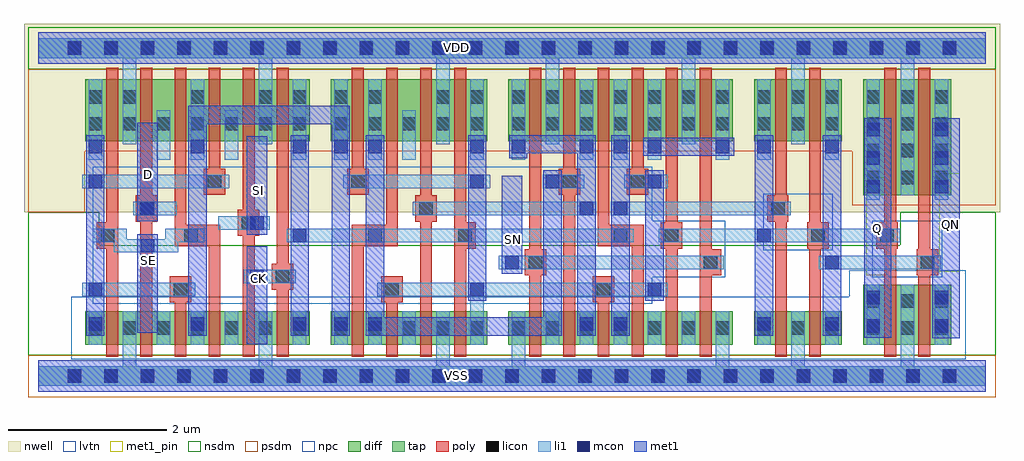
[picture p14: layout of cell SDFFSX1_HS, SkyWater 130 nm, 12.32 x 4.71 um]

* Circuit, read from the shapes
.subckt SDFFSX1_HS CK D Q QN SE SI SN VDD VSS
XM1 VSS SE n1 VSS sky130_fd_pr__nfet_01v8_lvt w=0.425 l=0.15
XM2 n2 D VSS VSS sky130_fd_pr__nfet_01v8_lvt w=0.425 l=0.15
XM3 n3 n1 n2 VSS sky130_fd_pr__nfet_01v8_lvt w=0.425 l=0.15
XM4 n4 SE n3 VSS sky130_fd_pr__nfet_01v8_lvt w=0.425 l=0.15
XM5 VSS SI n4 VSS sky130_fd_pr__nfet_01v8_lvt w=0.425 l=0.15
XM6 n5 CK VSS VSS sky130_fd_pr__nfet_01v8_lvt w=0.425 l=0.15
XM7 n6 n5 n3 VSS sky130_fd_pr__nfet_01v8_lvt w=0.425 l=0.15
XM8 n7 n8 n6 VSS sky130_fd_pr__nfet_01v8_lvt w=0.425 l=0.15
XM9 VSS n9 n7 VSS sky130_fd_pr__nfet_01v8_lvt w=0.425 l=0.15
XM10 n8 n5 VSS VSS sky130_fd_pr__nfet_01v8_lvt w=0.425 l=0.15
XM11 n10 SN VSS VSS sky130_fd_pr__nfet_01v8_lvt w=0.425 l=0.15
XM12 n9 n6 n10 VSS sky130_fd_pr__nfet_01v8_lvt w=0.425 l=0.15
XM13 n11 n8 n9 VSS sky130_fd_pr__nfet_01v8_lvt w=0.425 l=0.15
XM14 n12 n5 n11 VSS sky130_fd_pr__nfet_01v8_lvt w=0.425 l=0.15
XM15 n13 n14 n12 VSS sky130_fd_pr__nfet_01v8_lvt w=0.425 l=0.15
XM16 VSS SN n13 VSS sky130_fd_pr__nfet_01v8_lvt w=0.425 l=0.15
XM17 VSS n11 n14 VSS sky130_fd_pr__nfet_01v8_lvt w=0.425 l=0.15
XM18 n15 n14 VSS VSS sky130_fd_pr__nfet_01v8_lvt w=0.425 l=0.15
XM19 VSS n14 Q VSS sky130_fd_pr__nfet_01v8_lvt w=0.76 l=0.15
XM20 QN n15 VSS VSS sky130_fd_pr__nfet_01v8_lvt w=0.76 l=0.15
XM21 VDD SE n1 VDD sky130_fd_pr__pfet_01v8 w=0.78 l=0.15
XM22 n16 D VDD VDD sky130_fd_pr__pfet_01v8 w=0.78 l=0.15
XM23 n3 SE n16 VDD sky130_fd_pr__pfet_01v8 w=0.78 l=0.15
XM24 n17 n1 n3 VDD sky130_fd_pr__pfet_01v8 w=0.78 l=0.15
XM25 VDD SI n17 VDD sky130_fd_pr__pfet_01v8 w=0.78 l=0.15
XM26 n5 CK VDD VDD sky130_fd_pr__pfet_01v8 w=0.78 l=0.15
XM27 n6 n8 n3 VDD sky130_fd_pr__pfet_01v8 w=0.78 l=0.15
XM28 n18 n5 n6 VDD sky130_fd_pr__pfet_01v8 w=0.78 l=0.15
XM29 VDD n9 n18 VDD sky130_fd_pr__pfet_01v8 w=0.78 l=0.15
XM30 n8 n5 VDD VDD sky130_fd_pr__pfet_01v8 w=0.78 l=0.15
XM31 VDD SN n9 VDD sky130_fd_pr__pfet_01v8 w=0.78 l=0.15
XM32 n9 n6 VDD VDD sky130_fd_pr__pfet_01v8 w=0.78 l=0.15
XM33 n11 n5 n9 VDD sky130_fd_pr__pfet_01v8 w=0.78 l=0.15
XM34 n19 n8 n11 VDD sky130_fd_pr__pfet_01v8 w=0.78 l=0.15
XM35 VDD n14 n19 VDD sky130_fd_pr__pfet_01v8 w=0.78 l=0.15
XM36 n19 SN VDD VDD sky130_fd_pr__pfet_01v8 w=0.78 l=0.15
XM37 VDD n11 n14 VDD sky130_fd_pr__pfet_01v8 w=0.78 l=0.15
XM38 n15 n14 VDD VDD sky130_fd_pr__pfet_01v8 w=0.78 l=0.15
XM39 VDD n14 Q VDD sky130_fd_pr__pfet_01v8 w=1.46 l=0.15
XM40 QN n15 VDD VDD sky130_fd_pr__pfet_01v8 w=1.46 l=0.15
.ends

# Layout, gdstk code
from math import pi, radians
import gdstk
lib = gdstk.Library(unit=1e-6, precision=1e-09)
def R(c, l, rs):  # rectangles x0, y0, x1, y1
    for r in rs: c.add(gdstk.rectangle(r[:2], r[2:], *l))
def A(c, l, x, y, w, h, nx, ny, dx, dy):  # array of equal rectangles
    R(c, l, [(x+i*dx, y+j*dy, x+i*dx+w, y+j*dy+h) for i in range(nx) for j in range(ny)])
def P(c, l, *ps):  # polygons
    for p in ps: c.add(gdstk.Polygon(p, *l))
nwell = (64, 20)
diff = (65, 20)
tap = (65, 44)
poly = (66, 20)
licon = (66, 44)
li1 = (67, 20)
mcon = (67, 44)
met1_pin = (68, 16)
met1 = (68, 20)
nsdm = (93, 44)
psdm = (94, 20)
npc = (95, 20)
lvtn = (125, 44)

pyl1con_c_cdns_758729172 = lib.new_cell('PYL1CON_C_CDNS_758729172862')
R(pyl1con_c_cdns_758729172, poly, [(-0.135,-0.165,0.135,0.165)])
R(pyl1con_c_cdns_758729172, licon, [(-0.085,-0.085,0.085,0.085)])
R(pyl1con_c_cdns_758729172, npc, [(-0.185,-0.185,0.185,0.185)])

l1m1_c_cdns_758729172864 = lib.new_cell('L1M1_C_CDNS_758729172864')
R(l1m1_c_cdns_758729172864, li1, [(-0.085,-0.345,0.085,0.345)])
R(l1m1_c_cdns_758729172864, mcon, [(-0.085,-0.265,0.085,-0.095), (-0.085,0.095,0.085,0.265)])
R(l1m1_c_cdns_758729172864, met1, [(-0.115,-0.325,0.115,0.325)])

l1m1_c_cdns_758729172861 = lib.new_cell('L1M1_C_CDNS_758729172861')
R(l1m1_c_cdns_758729172861, li1, [(-0.085,-0.165,0.085,0.165)])
R(l1m1_c_cdns_758729172861, mcon, [(-0.085,-0.085,0.085,0.085)])
R(l1m1_c_cdns_758729172861, met1, [(-0.115,-0.145,0.115,0.145)])

l1m1_c_cdns_758729172860 = lib.new_cell('L1M1_C_CDNS_758729172860')
R(l1m1_c_cdns_758729172860, li1, [(-0.165,-0.085,0.165,0.085)])
R(l1m1_c_cdns_758729172860, mcon, [(-0.085,-0.085,0.085,0.085)])
R(l1m1_c_cdns_758729172860, met1, [(-0.115,-0.145,0.115,0.145)])

l1m1_c_cdns_758729172862 = lib.new_cell('L1M1_C_CDNS_7587291728623')
R(l1m1_c_cdns_758729172862, li1, [(-0.085,-0.165,0.085,0.165)])
R(l1m1_c_cdns_758729172862, mcon, [(-0.085,-0.085,0.085,0.085)])
R(l1m1_c_cdns_758729172862, met1, [(-0.145,-0.085,0.145,0.085)])

licondiff_c_cdns_7587291 = lib.new_cell('LICONDIFF_C_CDNS_7587291728611')
R(licondiff_c_cdns_7587291, diff, [(-0.125,-0.145,0.125,0.145)])
R(licondiff_c_cdns_7587291, licon, [(-0.085,-0.085,0.085,0.085), (-0.085,-0.085,0.085,0.085)])

c_l1m1_c_cdns_758729172861 = lib.new_cell('L1M1_C_CDNS_7587291728613')
R(c_l1m1_c_cdns_758729172861, li1, [(-0.085,-0.525,0.085,0.525)])
A(c_l1m1_c_cdns_758729172861, mcon, -0.085, -0.445, 0.17, 0.17, 1, 3, 0, 0.36)
R(c_l1m1_c_cdns_758729172861, met1, [(-0.115,-0.505,0.115,0.505)])

c_pyl1con_c_cdns_758729172 = lib.new_cell('PYL1CON_C_CDNS_7587291728618')
R(c_pyl1con_c_cdns_758729172, poly, [(-0.135,-0.29,0.135,0.29)])
R(c_pyl1con_c_cdns_758729172, licon, [(-0.085,-0.085,0.085,0.085)])
R(c_pyl1con_c_cdns_758729172, npc, [(-0.185,-0.185,0.185,0.185)])

c_l1m1_c_cdns_758729172862 = lib.new_cell('L1M1_C_CDNS_7587291728621')
R(c_l1m1_c_cdns_758729172862, li1, [(-0.125,-0.085,0.125,0.085)])
R(c_l1m1_c_cdns_758729172862, mcon, [(-0.085,-0.085,0.085,0.085)])
R(c_l1m1_c_cdns_758729172862, met1, [(-0.115,-0.145,0.115,0.145)])

c_pyl1con_c_cdns_758729172_ = lib.new_cell('PYL1CON_C_CDNS_7587291728622')
R(c_pyl1con_c_cdns_758729172_, poly, [(-0.135,-0.37,0.135,0.21)])
R(c_pyl1con_c_cdns_758729172_, licon, [(-0.085,-0.085,0.085,0.085)])
R(c_pyl1con_c_cdns_758729172_, npc, [(-0.185,-0.185,0.185,0.185)])

sdffsx1_hs = lib.new_cell('SDFFSX1_HS')
R(sdffsx1_hs, nwell, [(-0.18,2.07,12.14,4.445)])
R(sdffsx1_hs, diff, [(0.595,0.395,3.425,0.82), (3.695,0.395,5.665,0.82), (5.935,0.395,8.765,0.82), (9.035,0.395,10.145,0.82), (10.415,0.395,11.525,1.155), (10.415,2.285,11.525,3.745), (0.595,2.965,3.425,3.745), (3.695,2.965,5.665,3.745), (5.935,2.965,8.765,3.745), (9.035,2.965,10.145,3.745)])
A(sdffsx1_hs, poly, 1.72, 0.245, 0.15, 0.725, 3, 1, 2.67, 0)
R(sdffsx1_hs, poly, [(0.86,0.245,1.01,3.895), (1.29,0.245,1.44,3.895), (2.58,0.245,2.73,3.895), (3.01,0.245,3.16,3.895), (4.82,0.245,4.97,3.895), (5.25,0.245,5.4,3.895), (6.2,0.245,6.35,3.895), (6.63,0.245,6.78,3.895), (7.92,0.245,8.07,3.895), (8.35,0.245,8.5,3.895), (9.3,0.245,9.45,3.895), (9.73,0.245,9.88,3.895), (10.68,0.245,10.83,3.895), (11.11,0.245,11.26,3.895), (2.15,2.455,2.3,3.895), (3.96,2.455,4.11,3.895), (7.49,2.455,7.64,3.895)])
P(sdffsx1_hs, poly, [(2.3,1.85),(1.87,1.85),(1.87,3.895),(1.72,3.895),(1.72,1.7),(2.15,1.7),(2.15,0.245),(2.3,0.245)],
  [(4.54,3.895),(4.39,3.895),(4.39,1.85),(3.96,1.85),(3.96,0.245),(4.11,0.245),(4.11,1.7),(4.54,1.7)],
  [(7.64,1.85),(7.21,1.85),(7.21,3.895),(7.06,3.895),(7.06,1.7),(7.49,1.7),(7.49,0.245),(7.64,0.245)])
A(sdffsx1_hs, licon, 0.375, -0.085, 0.17, 0.17, 25, 2, 0.46, 4.14)
A(sdffsx1_hs, licon, 1.065, 0.52, 0.17, 0.17, 3, 2, 0.86, 2.58)
A(sdffsx1_hs, licon, 9.075, 0.52, 0.17, 0.17, 3, 2, 0.43, 2.58)
A(sdffsx1_hs, licon, 10.455, 0.52, 0.17, 0.17, 3, 2, 0.43, 0.34)
A(sdffsx1_hs, licon, 10.455, 2.42, 0.17, 0.17, 3, 4, 0.43, 0.34)
A(sdffsx1_hs, licon, 5.975, 3.1, 0.17, 0.17, 7, 2, 0.43, 0.34)
A(sdffsx1_hs, licon, 1.065, 3.44, 0.17, 0.17, 3, 1, 0.86, 0)
A(sdffsx1_hs, licon, 9.075, 3.44, 0.17, 0.17, 3, 1, 0.43, 0)
R(sdffsx1_hs, licon, [(0.635,0.52,0.805,0.69), (3.215,0.52,3.385,0.69), (3.735,0.52,3.905,0.69), (4.165,0.52,4.335,0.69), (5.025,0.52,5.195,0.69), (5.455,0.52,5.625,0.69), (5.975,0.52,6.145,0.69), (6.835,0.52,7.005,0.69), (7.265,0.52,7.435,0.69), (8.555,0.52,8.725,0.69), (0.635,3.1,0.805,3.27), (3.215,3.1,3.385,3.27), (3.735,3.1,3.905,3.27), (4.165,3.1,4.335,3.27), (5.025,3.1,5.195,3.27), (5.455,3.1,5.625,3.27), (0.635,3.44,0.805,3.61), (3.215,3.44,3.385,3.61), (3.735,3.44,3.905,3.61), (4.165,3.44,4.335,3.61), (5.025,3.44,5.195,3.61), (5.455,3.44,5.625,3.61)])
A(sdffsx1_hs, li1, 0.635, 0.395, 0.17, 0.425, 3, 1, 1.29, 0)
A(sdffsx1_hs, li1, 0.635, 2.965, 0.17, 0.78, 3, 1, 1.29, 0)
A(sdffsx1_hs, li1, 6.835, 2.965, 0.17, 0.78, 3, 1, 0.43, 0)
R(sdffsx1_hs, li1, [(3.735,0.395,3.905,0.82), (4.165,0.395,4.335,0.82), (6.835,0.395,7.005,0.82), (7.265,0.395,7.435,0.82), (9.075,0.395,9.245,0.82), (9.935,0.395,10.105,0.82), (10.455,0.395,10.625,1.155), (11.315,0.395,11.485,1.155), (10.455,2.285,10.625,3.745), (11.315,2.285,11.485,3.745), (3.735,2.965,3.905,3.745), (4.165,2.965,4.335,3.745), (5.455,2.965,5.625,3.745), (5.975,2.965,6.145,3.745), (8.555,2.965,8.725,3.745), (9.075,2.965,9.245,3.745), (9.935,2.965,10.105,3.745)])
P(sdffsx1_hs, li1, [(2.095,1.86),(1.6,1.86),(1.6,1.73),(1.12,1.73),(1.12,1.86),(0.69,1.86),(0.69,1.69),(0.95,1.69),(0.95,1.56),(1.77,1.56),(1.77,1.69),(2.095,1.69)],
  [(7.945,1.18),(4.28,1.18),(4.28,1.01),(5.455,1.01),(5.455,0.395),(5.625,0.395),(5.625,1.01),(7.945,1.01)],
  [(11.96,4.265),(0,4.265),(0,4.015),(1.065,4.015),(1.065,2.925),(1.235,2.925),(1.235,4.015),(2.785,4.015),(2.785,2.925),(2.955,2.925),(2.955,4.015),(5.025,4.015),(5.025,2.925),(5.195,2.925),(5.195,4.015),(6.405,4.015),(6.405,2.925),(6.575,2.925),(6.575,4.015),(8.125,4.015),(8.125,2.925),(8.295,2.925),(8.295,4.015),(9.505,4.015),(9.505,2.925),(9.675,2.925),(9.675,4.015),(10.885,4.015),(10.885,2.285),(11.055,2.285),(11.055,4.015),(11.96,4.015)],
  [(11.96,0.125),(11.055,0.125),(11.055,1.155),(10.885,1.155),(10.885,0.125),(9.675,0.125),(9.675,0.82),(9.505,0.82),(9.505,0.125),(8.725,0.125),(8.725,0.82),(8.555,0.82),(8.555,0.125),(6.145,0.125),(6.145,0.82),(5.975,0.82),(5.975,0.125),(5.195,0.125),(5.195,0.82),(5.025,0.82),(5.025,0.125),(2.955,0.125),(2.955,0.82),(2.785,0.82),(2.785,0.125),(1.235,0.125),(1.235,0.82),(1.065,0.82),(1.065,0.125),(0,0.125),(0,-0.125),(11.96,-0.125)])
A(sdffsx1_hs, mcon, 0.375, -0.085, 0.17, 0.17, 25, 2, 0.46, 4.14)
R(sdffsx1_hs, met1_pin, [(2.63,0.4,2.89,1.64), (1.25,0.55,1.51,1.79), (10.45,1.27,10.71,2.51), (5.85,1.29,6.11,2.53), (11.37,1.32,11.63,2.56), (2.63,1.785,2.89,3.025), (1.25,1.955,1.51,3.195)])
R(sdffsx1_hs, met1, [(11.285,0.48,11.63,3.255), (10.425,0.485,10.77,3.255)])
R(sdffsx1_hs, nsdm, [(-0.125,3.875,12.085,4.405)])
P(sdffsx1_hs, nsdm, [(12.085,2.07),(10.88,2.07),(10.88,1.65),(0.77,1.65),(0.77,2.07),(-0.125,2.07),(-0.125,0.265),(12.085,0.265)])
R(sdffsx1_hs, psdm, [(-0.125,-0.265,12.085,0.265)])
P(sdffsx1_hs, psdm, [(12.085,3.875),(-0.125,3.875),(-0.125,2.07),(0.585,2.07),(0.585,2.835),(10.275,2.835),(10.275,2.155),(12.085,2.155)])
R(sdffsx1_hs, npc, [(10.53,1.25,11.41,1.96), (9.15,1.59,10.03,2.3)])
P(sdffsx1_hs, npc, [(8.67,1.96),(7.75,1.96),(7.75,2.64),(0.69,2.64),(0.69,0.915),(7.75,0.915),(7.75,1.25),(8.67,1.25)])
P(sdffsx1_hs, lvtn, [(11.705,1.335),(10.235,1.335),(10.235,1),(0.415,1),(0.415,0.215),(11.705,0.215)])
sdffsx1_hs.add(gdstk.FlexPath([(6.365,2.455),(6.89,2.455)], 0.17, ends="flush", simple_path=True, layer=67, datatype=20))  # li1
sdffsx1_hs.add(gdstk.FlexPath([(3.85,2.455),(5.705,2.455)], 0.17, ends="flush", simple_path=True, layer=67, datatype=20))  # li1
sdffsx1_hs.add(gdstk.FlexPath([(7.4,2.455),(7.945,2.455)], 0.17, ends="flush", simple_path=True, layer=67, datatype=20))  # li1
sdffsx1_hs.add(gdstk.FlexPath([(0.555,1.095),(1.98,1.095)], 0.17, ends="flush", simple_path=True, layer=67, datatype=20))  # li1
sdffsx1_hs.add(gdstk.FlexPath([(4.68,2.73),(4.68,3.355)], 0.17, ends="flush", simple_path=True, layer=67, datatype=20))  # li1
sdffsx1_hs.add(gdstk.FlexPath([(4.68,0.395),(4.68,0.82)], 0.17, ends="flush", simple_path=True, layer=67, datatype=20))  # li1
sdffsx1_hs.add(gdstk.FlexPath([(8.21,0.395),(8.21,0.82)], 0.17, ends="flush", simple_path=True, layer=67, datatype=20))  # li1
sdffsx1_hs.add(gdstk.FlexPath([(7.78,0.395),(7.78,0.82)], 0.17, ends="flush", simple_path=True, layer=67, datatype=20))  # li1
sdffsx1_hs.add(gdstk.FlexPath([(2.82,1.935),(2.275,1.935)], 0.17, ends="flush", simple_path=True, layer=67, datatype=20))  # li1
sdffsx1_hs.add(gdstk.FlexPath([(3.25,1.255),(2.705,1.255)], 0.17, ends="flush", simple_path=True, layer=67, datatype=20))  # li1
sdffsx1_hs.add(gdstk.FlexPath([(3.135,1.775),(7.515,1.775)], 0.17, ends="flush", simple_path=True, layer=67, datatype=20))  # li1
sdffsx1_hs.add(gdstk.FlexPath([(7.83,1.775),(10.88,1.775)], 0.17, ends="flush", simple_path=True, layer=67, datatype=20))  # li1
sdffsx1_hs.add(gdstk.FlexPath([(6.49,0.395),(6.49,0.82)], 0.17, ends="flush", simple_path=True, layer=67, datatype=20))  # li1
sdffsx1_hs.add(gdstk.FlexPath([(9.855,1.435),(11.39,1.435)], 0.17, ends="flush", simple_path=True, layer=67, datatype=20))  # li1
sdffsx1_hs.add(gdstk.FlexPath([(7.225,2.115),(9.5,2.115)], 0.17, ends="flush", simple_path=True, layer=67, datatype=20))  # li1
sdffsx1_hs.add(gdstk.FlexPath([(0.555,2.455),(2.41,2.455)], 0.17, ends="flush", simple_path=True, layer=67, datatype=20))  # li1
sdffsx1_hs.add(gdstk.FlexPath([(1.58,2.73),(1.58,3.355)], 0.17, ends="flush", simple_path=True, layer=67, datatype=20))  # li1
sdffsx1_hs.add(gdstk.FlexPath([(2.44,2.73),(2.44,3.355)], 0.17, ends="flush", simple_path=True, layer=67, datatype=20))  # li1
sdffsx1_hs.add(gdstk.FlexPath([(5.895,1.435),(8.65,1.435)], 0.17, ends="flush", simple_path=True, layer=67, datatype=20))  # li1
sdffsx1_hs.add(gdstk.FlexPath([(1.58,0.395),(1.58,0.82)], 0.17, ends="flush", simple_path=True, layer=67, datatype=20))  # li1
sdffsx1_hs.add(gdstk.FlexPath([(2.44,0.395),(2.44,0.82)], 0.17, ends="flush", simple_path=True, layer=67, datatype=20))  # li1
sdffsx1_hs.add(gdstk.FlexPath([(1.745,2.115),(1.2,2.115)], 0.17, ends="flush", simple_path=True, layer=67, datatype=20))  # li1
sdffsx1_hs.add(gdstk.FlexPath([(7.045,2.115),(4.73,2.115)], 0.17, ends="flush", simple_path=True, layer=67, datatype=20))  # li1
sdffsx1_hs.add(gdstk.FlexPath([(0,4.14),(11.96,4.14)], 0.4, ends="flush", simple_path=True, layer=68, datatype=20))  # met1
sdffsx1_hs.add(gdstk.FlexPath([(0,0),(11.96,0)], 0.4, ends="flush", simple_path=True, layer=68, datatype=20))  # met1
sdffsx1_hs.add(gdstk.FlexPath([(7.78,0.95),(7.78,2.6)], 0.23, ends="flush", simple_path=True, layer=68, datatype=20))  # met1
sdffsx1_hs.add(gdstk.FlexPath([(2.01,0.51),(2.01,3.295),(3.82,3.295),(3.82,0.51)], 0.23, ends="flush", simple_path=True, layer=68, datatype=20))  # met1
sdffsx1_hs.add(gdstk.FlexPath([(6.49,2.6),(6.49,0.625),(4.25,0.625),(4.25,3.04)], 0.23, ends="flush", simple_path=True, layer=68, datatype=20))  # met1
sdffsx1_hs.add(gdstk.FlexPath([(0.72,0.51),(0.72,3.04)], 0.23, ends="flush", simple_path=True, layer=68, datatype=20))  # met1
sdffsx1_hs.add(gdstk.FlexPath([(5.54,0.95),(5.54,3.04)], 0.23, ends="flush", simple_path=True, layer=68, datatype=20))  # met1
sdffsx1_hs.add(gdstk.FlexPath([(3.3,0.51),(3.3,3.04)], 0.23, ends="flush", simple_path=True, layer=68, datatype=20))  # met1
sdffsx1_hs.add(gdstk.FlexPath([(5.98,1.29),(5.98,2.53)], 0.26, ends="flush", simple_path=True, layer=68, datatype=20))  # met1
sdffsx1_hs.add(gdstk.FlexPath([(5.945,2.925),(6.92,2.925),(6.92,0.51)], 0.23, ends="flush", simple_path=True, layer=68, datatype=20))  # met1
sdffsx1_hs.add(gdstk.FlexPath([(2.76,0.4),(2.76,1.64)], 0.26, ends="flush", simple_path=True, layer=68, datatype=20))  # met1
sdffsx1_hs.add(gdstk.FlexPath([(2.76,1.785),(2.76,3.025)], 0.26, ends="flush", simple_path=True, layer=68, datatype=20))  # met1
sdffsx1_hs.add(gdstk.FlexPath([(1.38,1.955),(1.38,3.195)], 0.26, ends="flush", simple_path=True, layer=68, datatype=20))  # met1
sdffsx1_hs.add(gdstk.FlexPath([(9.16,0.51),(9.16,3.04)], 0.23, ends="flush", simple_path=True, layer=68, datatype=20))  # met1
sdffsx1_hs.add(gdstk.FlexPath([(10.02,0.51),(10.02,3.04)], 0.23, ends="flush", simple_path=True, layer=68, datatype=20))  # met1
sdffsx1_hs.add(gdstk.FlexPath([(7.635,2.895),(8.785,2.895)], 0.23, ends="flush", simple_path=True, layer=68, datatype=20))  # met1
sdffsx1_hs.add(gdstk.FlexPath([(1.38,0.55),(1.38,1.79)], 0.26, ends="flush", simple_path=True, layer=68, datatype=20))  # met1
sdffsx1_hs.add(gdstk.FlexPath([(7.35,0.51),(7.35,3.04)], 0.23, ends="flush", simple_path=True, layer=68, datatype=20))  # met1
sdffsx1_hs.add(gdstk.FlexPath([(0,4.14),(11.96,4.14)], 0.4, ends="flush", simple_path=True, layer=68, datatype=16))  # met1_pin
sdffsx1_hs.add(gdstk.FlexPath([(0,0),(11.96,0)], 0.4, ends="flush", simple_path=True, layer=68, datatype=16))  # met1_pin
sdffsx1_hs.add(gdstk.FlexPath([(0,4.14),(11.96,4.14)], 0.25, ends="flush", simple_path=True, layer=65, datatype=44))  # tap
sdffsx1_hs.add(gdstk.FlexPath([(0,0),(11.96,0)], 0.25, ends="flush", simple_path=True, layer=65, datatype=44))  # tap
sdffsx1_hs.add(gdstk.Reference(pyl1con_c_cdns_758729172, (6.705,2.455), rotation=pi))
sdffsx1_hs.add(gdstk.Reference(pyl1con_c_cdns_758729172, (4.895,2.115)))
sdffsx1_hs.add(gdstk.Reference(pyl1con_c_cdns_758729172, (6.275,1.435)))
sdffsx1_hs.add(gdstk.Reference(pyl1con_c_cdns_758729172, (5.385,1.775), rotation=pi))
sdffsx1_hs.add(gdstk.Reference(pyl1con_c_cdns_758729172, (3.085,1.255), x_reflection=True))
sdffsx1_hs.add(gdstk.Reference(pyl1con_c_cdns_758729172, (2.655,1.935), x_reflection=True))
sdffsx1_hs.add(gdstk.Reference(pyl1con_c_cdns_758729172, (2.225,2.455), rotation=pi))
sdffsx1_hs.add(gdstk.Reference(pyl1con_c_cdns_758729172, (1.795,1.095), x_reflection=True))
sdffsx1_hs.add(gdstk.Reference(pyl1con_c_cdns_758729172, (4.465,1.095), rotation=pi))
sdffsx1_hs.add(gdstk.Reference(pyl1con_c_cdns_758729172, (4.035,2.455), x_reflection=True))
sdffsx1_hs.add(gdstk.Reference(pyl1con_c_cdns_758729172, (7.565,2.455), rotation=pi))
sdffsx1_hs.add(gdstk.Reference(pyl1con_c_cdns_758729172, (7.135,1.095), x_reflection=True))
sdffsx1_hs.add(gdstk.Reference(pyl1con_c_cdns_758729172, (8.485,1.435)))
sdffsx1_hs.add(gdstk.Reference(pyl1con_c_cdns_758729172, (7.995,1.775)))
sdffsx1_hs.add(gdstk.Reference(pyl1con_c_cdns_758729172, (11.225,1.435), rotation=pi, x_reflection=True))
sdffsx1_hs.add(gdstk.Reference(pyl1con_c_cdns_758729172, (0.875,1.775)))
sdffsx1_hs.add(gdstk.Reference(pyl1con_c_cdns_758729172, (1.365,2.115)))
sdffsx1_hs.add(gdstk.Reference(pyl1con_c_cdns_758729172, (9.845,1.775), x_reflection=True))
sdffsx1_hs.add(gdstk.Reference(pyl1con_c_cdns_758729172, (9.335,2.115), rotation=pi, x_reflection=True))
sdffsx1_hs.add(gdstk.Reference(pyl1con_c_cdns_758729172, (10.715,1.775), rotation=pi, x_reflection=True))
sdffsx1_hs.add(gdstk.Reference(l1m1_c_cdns_758729172864, (10.54,0.81)))
sdffsx1_hs.add(gdstk.Reference(l1m1_c_cdns_758729172864, (11.4,0.81)))
sdffsx1_hs.add(gdstk.Reference(l1m1_c_cdns_758729172864, (10.54,0.81)))
sdffsx1_hs.add(gdstk.Reference(l1m1_c_cdns_758729172864, (11.4,0.81)))
sdffsx1_hs.add(gdstk.Reference(l1m1_c_cdns_758729172861, (3.82,2.895)))
sdffsx1_hs.add(gdstk.Reference(l1m1_c_cdns_758729172861, (3.82,0.655)))
sdffsx1_hs.add(gdstk.Reference(l1m1_c_cdns_758729172861, (2.01,2.895)))
sdffsx1_hs.add(gdstk.Reference(l1m1_c_cdns_758729172861, (2.01,0.655)))
sdffsx1_hs.add(gdstk.Reference(l1m1_c_cdns_758729172861, (0.72,2.895)))
sdffsx1_hs.add(gdstk.Reference(l1m1_c_cdns_758729172861, (0.72,0.655)))
sdffsx1_hs.add(gdstk.Reference(l1m1_c_cdns_758729172861, (6.06,2.895)))
sdffsx1_hs.add(gdstk.Reference(l1m1_c_cdns_758729172861, (5.54,2.895), rotation=pi, x_reflection=True))
sdffsx1_hs.add(gdstk.Reference(l1m1_c_cdns_758729172861, (3.3,0.655)))
sdffsx1_hs.add(gdstk.Reference(l1m1_c_cdns_758729172861, (3.3,2.895)))
sdffsx1_hs.add(gdstk.Reference(l1m1_c_cdns_758729172861, (4.25,2.895)))
sdffsx1_hs.add(gdstk.Reference(l1m1_c_cdns_758729172861, (4.25,0.655)))
sdffsx1_hs.add(gdstk.Reference(l1m1_c_cdns_758729172861, (6.92,0.655)))
sdffsx1_hs.add(gdstk.Reference(l1m1_c_cdns_758729172861, (6.92,2.895)))
sdffsx1_hs.add(gdstk.Reference(l1m1_c_cdns_758729172861, (7.35,2.895)))
sdffsx1_hs.add(gdstk.Reference(l1m1_c_cdns_758729172861, (7.35,0.655)))
sdffsx1_hs.add(gdstk.Reference(l1m1_c_cdns_758729172861, (9.16,2.895), rotation=pi, x_reflection=True))
sdffsx1_hs.add(gdstk.Reference(l1m1_c_cdns_758729172861, (10.02,2.895), rotation=pi, x_reflection=True))
sdffsx1_hs.add(gdstk.Reference(l1m1_c_cdns_758729172861, (10.02,0.655), rotation=pi, x_reflection=True))
sdffsx1_hs.add(gdstk.Reference(l1m1_c_cdns_758729172861, (9.16,0.655), rotation=pi, x_reflection=True))
sdffsx1_hs.add(gdstk.Reference(l1m1_c_cdns_758729172860, (7.78,2.455)))
sdffsx1_hs.add(gdstk.Reference(l1m1_c_cdns_758729172860, (7.78,1.095)))
sdffsx1_hs.add(gdstk.Reference(l1m1_c_cdns_758729172860, (2.76,1.255), x_reflection=True))
sdffsx1_hs.add(gdstk.Reference(l1m1_c_cdns_758729172860, (2.76,1.935), x_reflection=True))
sdffsx1_hs.add(gdstk.Reference(l1m1_c_cdns_758729172860, (3.3,1.775)))
sdffsx1_hs.add(gdstk.Reference(l1m1_c_cdns_758729172860, (5.54,2.455), rotation=pi, x_reflection=True))
sdffsx1_hs.add(gdstk.Reference(l1m1_c_cdns_758729172860, (5.54,1.095), rotation=pi, x_reflection=True))
sdffsx1_hs.add(gdstk.Reference(l1m1_c_cdns_758729172860, (9.16,1.775), rotation=pi, x_reflection=True))
sdffsx1_hs.add(gdstk.Reference(l1m1_c_cdns_758729172860, (10.02,1.435)))
sdffsx1_hs.add(gdstk.Reference(l1m1_c_cdns_758729172860, (5.98,1.435), x_reflection=True))
sdffsx1_hs.add(gdstk.Reference(l1m1_c_cdns_758729172860, (1.38,1.645), x_reflection=True))
sdffsx1_hs.add(gdstk.Reference(l1m1_c_cdns_758729172860, (1.38,2.115), x_reflection=True))
sdffsx1_hs.add(gdstk.Reference(l1m1_c_cdns_758729172860, (0.72,1.095)))
sdffsx1_hs.add(gdstk.Reference(l1m1_c_cdns_758729172860, (0.72,2.455)))
sdffsx1_hs.add(gdstk.Reference(l1m1_c_cdns_758729172862, (7.78,2.895)))
sdffsx1_hs.add(gdstk.Reference(l1m1_c_cdns_758729172862, (8.64,2.895)))
sdffsx1_hs.add(gdstk.Reference(licondiff_c_cdns_7587291, (4.68,3.185)))
sdffsx1_hs.add(gdstk.Reference(licondiff_c_cdns_7587291, (4.68,0.605)))
sdffsx1_hs.add(gdstk.Reference(licondiff_c_cdns_7587291, (8.21,0.605)))
sdffsx1_hs.add(gdstk.Reference(licondiff_c_cdns_7587291, (7.78,0.605)))
sdffsx1_hs.add(gdstk.Reference(licondiff_c_cdns_7587291, (6.49,0.605), rotation=pi, x_reflection=True))
sdffsx1_hs.add(gdstk.Reference(licondiff_c_cdns_7587291, (2.44,0.605)))
sdffsx1_hs.add(gdstk.Reference(licondiff_c_cdns_7587291, (1.58,0.605)))
sdffsx1_hs.add(gdstk.Reference(licondiff_c_cdns_7587291, (2.44,3.185)))
sdffsx1_hs.add(gdstk.Reference(licondiff_c_cdns_7587291, (1.58,3.185)))
sdffsx1_hs.add(gdstk.Reference(c_l1m1_c_cdns_758729172861, (10.54,2.75)))
sdffsx1_hs.add(gdstk.Reference(c_l1m1_c_cdns_758729172861, (10.54,2.75)))
sdffsx1_hs.add(gdstk.Reference(c_l1m1_c_cdns_758729172861, (11.4,2.75)))
sdffsx1_hs.add(gdstk.Reference(c_l1m1_c_cdns_758729172861, (11.4,2.75)))
sdffsx1_hs.add(gdstk.Reference(c_pyl1con_c_cdns_758729172, (4.25,1.775), rotation=pi/2, x_reflection=True))
sdffsx1_hs.add(gdstk.Reference(c_pyl1con_c_cdns_758729172, (7.35,1.775), rotation=pi/2))
sdffsx1_hs.add(gdstk.Reference(c_l1m1_c_cdns_758729172862, (6.49,2.455)))
sdffsx1_hs.add(gdstk.Reference(c_l1m1_c_cdns_758729172862, (6.92,2.115), rotation=pi, x_reflection=True))
sdffsx1_hs.add(gdstk.Reference(c_l1m1_c_cdns_758729172862, (7.35,2.115), rotation=pi, x_reflection=True))
sdffsx1_hs.add(gdstk.Reference(c_pyl1con_c_cdns_758729172_, (1.93,1.775), rotation=pi/2))
sdffsx1_hs.add(gdstk.Label('SI', (2.775,2.34), layer=68, texttype=5))
sdffsx1_hs.add(gdstk.Label('D', (1.395,2.55), layer=68, texttype=5))
sdffsx1_hs.add(gdstk.Label('SN', (5.995,1.73), layer=68, texttype=5))
sdffsx1_hs.add(gdstk.Label('QN', (11.515,1.915), layer=68, texttype=5))
sdffsx1_hs.add(gdstk.Label('VDD', (5.285,4.145), layer=68, texttype=5))
sdffsx1_hs.add(gdstk.Label('Q', (10.595,1.865), layer=68, texttype=5))
sdffsx1_hs.add(gdstk.Label('VSS', (5.285,0.005), layer=68, texttype=5))
sdffsx1_hs.add(gdstk.Label('CK', (2.775,1.23), layer=68, texttype=5))
sdffsx1_hs.add(gdstk.Label('SE', (1.395,1.455), layer=68, texttype=5))

lib.write_gds('SDFFSX1_HS.gds')
